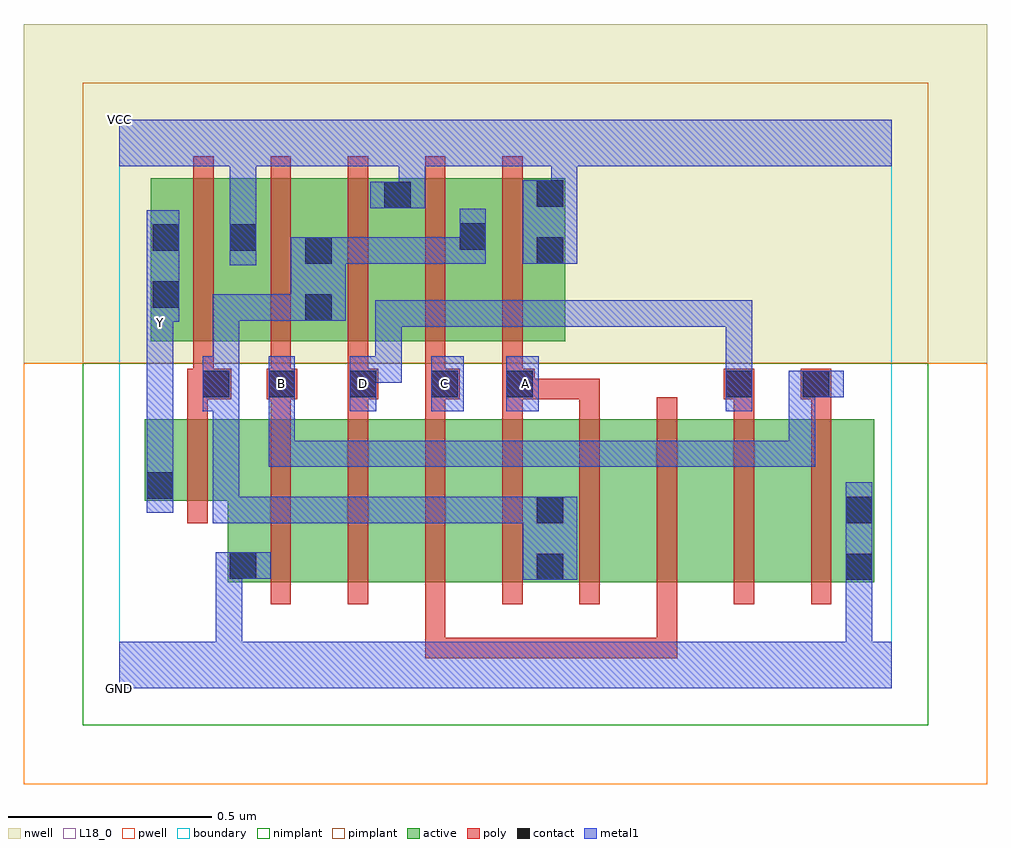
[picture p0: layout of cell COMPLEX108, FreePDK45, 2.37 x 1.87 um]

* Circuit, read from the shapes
.subckt COMPLEX108 A B C D GND VCC Y
M1 GND n1 Y VSUBS nfet w=0.2u l=0.05u
M2 n2 B GND VSUBS nfet w=0.4u l=0.05u
M3 n3 D n2 VSUBS nfet w=0.4u l=0.05u
M4 n4 C n3 VSUBS nfet w=0.4u l=0.05u
M5 n1 A n4 VSUBS nfet w=0.4u l=0.05u
M6 n5 A n1 VSUBS nfet w=0.4u l=0.05u
M7 n6 C n5 VSUBS nfet w=0.4u l=0.05u
M8 n7 D n6 VSUBS nfet w=0.4u l=0.05u
M9 GND B n7 VSUBS nfet w=0.4u l=0.05u
M10 VCC n1 Y n8 pfet w=0.4u l=0.05u
M11 n1 B VCC n8 pfet w=0.4u l=0.05u
M12 VCC D n1 n8 pfet w=0.4u l=0.05u
M13 n1 C VCC n8 pfet w=0.4u l=0.05u
M14 VCC A n1 n8 pfet w=0.4u l=0.05u
.ends

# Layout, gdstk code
import gdstk
lib = gdstk.Library(unit=1e-6, precision=1e-09)
def R(c, l, rs):  # rectangles x0, y0, x1, y1
    for r in rs: c.add(gdstk.rectangle(r[:2], r[2:], *l))
def A(c, l, x, y, w, h, nx, ny, dx, dy):  # array of equal rectangles
    R(c, l, [(x+i*dx, y+j*dy, x+i*dx+w, y+j*dy+h) for i in range(nx) for j in range(ny)])
active = (1, 0)
pwell = (2, 0)
nwell = (3, 0)
nimplant = (4, 0)
pimplant = (5, 0)
poly = (9, 0)
contact = (10, 0)
metal1 = (11, 0)
L18_0 = (18, 0)
boundary = (235, 0)

complex108 = lib.new_cell('COMPLEX108')
R(complex108, active, [(0.267,0.262,0.492,0.662), (0.267,0.262,0.342,0.532), (0.492,0.262,0.682,0.662), (0.682,0.262,0.872,0.662), (0.872,0.262,1.097,0.662), (1.022,0.262,1.252,0.662), (1.022,0.262,1.097,0.617), (1.252,0.262,1.442,0.662), (1.442,0.262,1.632,0.662), (1.632,0.262,1.857,0.662), (1.782,0.262,1.857,0.662), (0.062,0.462,0.342,0.662), (0.062,0.462,0.137,0.662), (0.077,0.855,0.342,1.255), (0.077,0.855,0.152,1.2), (0.267,0.855,0.527,1.255), (0.452,0.855,0.722,1.255), (0.452,0.855,0.527,1.2), (0.647,0.855,0.907,1.255), (0.832,0.855,1.097,1.255), (1.022,0.855,1.097,1.255), (0.267,0.907,0.342,1.255), (0.647,0.907,0.722,1.255), (0.832,0.907,0.907,1.2)])
R(complex108, pwell, [(-0.235,-0.235,2.135,0.8)])
R(complex108, nwell, [(-0.235,0.8,2.135,1.635)])
R(complex108, nimplant, [(-0.09,-0.09,1.99,0.8)])
R(complex108, pimplant, [(-0.09,0.8,1.99,1.49)])
A(complex108, poly, 0.372, 0.207, 0.05, 0.51, 8, 1, 0.19, 0)
A(complex108, poly, 0.372, 0.667, 0.05, 0.095, 5, 1, 0.19, 0)
A(complex108, poly, 0.182, 0.737, 0.05, 0.113, 5, 1, 0.19, 0)
A(complex108, poly, 0.182, 0.8, 0.05, 0.51, 5, 1, 0.19, 0)
R(complex108, poly, [(0.752,0.075,0.802,0.257), (0.752,0.075,0.802,0.125), (0.752,0.075,0.802,0.125), (0.752,0.075,0.802,0.125), (0.752,0.075,0.97,0.125), (0.92,0.075,0.97,0.125), (0.92,0.075,0.97,0.125), (0.92,0.075,0.97,0.125), (0.92,0.075,1.155,0.125), (1.105,0.075,1.155,0.125), (1.105,0.075,1.372,0.125), (1.322,0.075,1.372,0.257), (1.322,0.075,1.372,0.125), (1.322,0.075,1.372,0.125), (1.322,0.075,1.372,0.125), (0.167,0.407,0.217,0.717), (0.167,0.667,0.217,0.762), (1.512,0.667,1.562,0.762), (1.702,0.667,1.752,0.762), (0.167,0.712,0.275,0.787), (0.362,0.712,0.437,0.787), (0.562,0.712,0.637,0.787), (0.752,0.712,0.837,0.787), (0.942,0.712,1.022,0.787), (0.972,0.712,1.182,0.762), (1.132,0.712,1.182,0.762), (1.132,0.712,1.182,0.762), (1.132,0.712,1.182,0.762), (1.487,0.712,1.562,0.787), (1.677,0.712,1.752,0.787)])
A(complex108, contact, 0.367, 0.717, 0.065, 0.065, 3, 1, 0.2, 0)
R(complex108, contact, [(1.027,0.267,1.092,0.332), (1.787,0.267,1.852,0.332), (0.272,0.27,0.337,0.335), (1.027,0.407,1.092,0.472), (1.787,0.407,1.852,0.472), (0.067,0.467,0.132,0.532), (0.205,0.717,0.27,0.782), (0.952,0.717,1.017,0.782), (1.492,0.717,1.557,0.782), (1.682,0.717,1.747,0.782), (0.457,0.905,0.522,0.97), (0.082,0.937,0.147,1.002), (0.457,1.045,0.522,1.11), (1.027,1.045,1.092,1.11), (0.082,1.077,0.147,1.142), (0.272,1.077,0.337,1.142), (0.837,1.08,0.902,1.145), (0.652,1.182,0.717,1.247), (1.027,1.185,1.092,1.25)])
R(complex108, metal1, [(0,0,1.9,0.115), (0.237,0.05,0.302,0.115), (0.237,0.05,0.302,0.115), (0.237,0.05,0.302,0.335), (1.787,0.05,1.852,0.297), (1.787,0.232,1.852,0.297), (1.787,0.232,1.852,0.297), (1.787,0.232,1.852,0.297), (1.787,0.232,1.852,0.297), (1.787,0.232,1.852,0.507), (0.992,0.267,1.127,0.472), (0.237,0.27,0.302,0.335), (0.237,0.27,0.302,0.335), (0.237,0.27,0.372,0.335), (0.23,0.407,0.295,0.472), (0.23,0.407,0.295,0.472), (0.23,0.407,0.295,0.472), (0.23,0.407,0.495,0.472), (0.23,0.407,0.295,0.747), (0.43,0.407,0.495,0.472), (0.43,0.407,0.495,0.472), (0.43,0.407,0.495,0.472), (0.43,0.407,0.695,0.472), (0.63,0.407,0.695,0.472), (0.63,0.407,0.695,0.472), (0.63,0.407,0.695,0.472), (0.63,0.407,0.847,0.472), (0.782,0.407,0.847,0.472), (0.782,0.407,0.847,0.472), (0.782,0.407,0.847,0.472), (0.782,0.407,0.985,0.472), (0.92,0.407,0.985,0.472), (0.92,0.407,1.057,0.472), (0.067,0.432,0.132,0.567), (0.067,0.502,0.132,0.897), (0.367,0.545,0.432,0.61), (0.367,0.545,0.695,0.61), (0.367,0.545,0.432,0.747), (0.63,0.545,0.695,0.61), (0.63,0.545,0.695,0.61), (0.63,0.545,0.695,0.61), (0.63,0.545,0.832,0.61), (0.767,0.545,0.832,0.61), (0.767,0.545,0.847,0.61), (0.782,0.545,0.847,0.61), (0.782,0.545,0.985,0.61), (0.92,0.545,0.985,0.61), (0.92,0.545,0.985,0.61), (0.92,0.545,0.985,0.61), (0.92,0.545,1.145,0.61), (1.08,0.545,1.145,0.61), (1.08,0.545,1.145,0.61), (1.08,0.545,1.145,0.61), (1.08,0.545,1.42,0.61), (1.355,0.545,1.42,0.61), (1.355,0.545,1.42,0.61), (1.355,0.545,1.42,0.61), (1.355,0.545,1.557,0.61), (1.492,0.545,1.557,0.61), (1.492,0.545,1.712,0.61), (1.647,0.545,1.712,0.61), (1.647,0.545,1.712,0.782), (0.205,0.682,0.27,0.817), (0.205,0.682,0.295,0.747), (0.23,0.682,0.295,0.747), (0.23,0.682,0.295,0.97), (0.367,0.682,0.432,0.747), (0.367,0.682,0.432,0.747), (0.367,0.682,0.432,0.817), (0.567,0.682,0.632,0.817), (0.767,0.682,0.847,0.817), (0.952,0.682,1.032,0.817), (1.492,0.682,1.557,0.817), (1.647,0.717,1.712,0.782), (1.647,0.717,1.712,0.782), (1.647,0.717,1.782,0.782), (0.567,0.752,0.695,0.817), (0.63,0.752,0.695,0.817), (0.63,0.752,0.695,0.955), (1.492,0.752,1.557,0.817), (1.492,0.752,1.557,0.817), (1.492,0.752,1.557,0.955), (0.067,0.832,0.132,0.967), (0.63,0.89,0.695,0.955), (0.63,0.89,0.847,0.955), (0.782,0.89,0.847,0.955), (0.782,0.89,0.847,0.955), (0.782,0.89,0.847,0.955), (0.782,0.89,0.985,0.955), (0.92,0.89,0.985,0.955), (0.92,0.89,0.985,0.955), (0.92,0.89,0.985,0.955), (0.92,0.89,1.122,0.955), (1.057,0.89,1.122,0.955), (1.057,0.89,1.282,0.955), (1.217,0.89,1.282,0.955), (1.217,0.89,1.282,0.955), (1.217,0.89,1.282,0.955), (1.217,0.89,1.557,0.955), (1.492,0.89,1.557,0.955), (0.067,0.902,0.132,0.967), (0.067,0.902,0.147,1.177), (0.23,0.905,0.295,0.97), (0.23,0.905,0.487,0.97), (0.422,0.905,0.487,0.97), (0.422,0.905,0.487,0.97), (0.422,0.905,0.557,1.11), (0.272,1.042,0.337,1.177), (0.48,1.045,0.545,1.11), (0.48,1.045,0.545,1.11), (0.48,1.045,0.695,1.11), (0.63,1.045,0.695,1.11), (0.63,1.045,0.695,1.11), (0.63,1.045,0.695,1.11), (0.63,1.045,0.832,1.11), (0.767,1.045,0.832,1.11), (0.767,1.045,0.902,1.11), (0.837,1.045,0.902,1.18), (0.992,1.045,1.127,1.25), (0.272,1.112,0.337,1.35), (0.617,1.182,0.752,1.247), (0.687,1.182,0.752,1.35), (1.062,1.185,1.127,1.35), (0,1.285,1.9,1.4)])
A(complex108, L18_0, 0.367, 0.717, 0.065, 0.065, 4, 1, 0.2, 0)
R(complex108, L18_0, [(0,0,1.9,0.115), (0.237,0.05,0.302,0.115), (0.237,0.05,0.302,0.115), (0.237,0.05,0.302,0.335), (1.787,0.05,1.852,0.297), (1.787,0.232,1.852,0.297), (1.787,0.232,1.852,0.297), (1.787,0.232,1.852,0.297), (1.787,0.232,1.852,0.297), (1.787,0.232,1.852,0.507), (0.237,0.27,0.302,0.335), (0.237,0.27,0.302,0.335), (0.237,0.27,0.372,0.335), (0.067,0.432,0.132,0.567), (0.067,0.502,0.132,0.897), (0.367,0.545,0.432,0.61), (0.367,0.545,0.432,0.747), (0.367,0.545,0.695,0.61), (0.63,0.545,0.695,0.61), (0.63,0.545,0.695,0.61), (0.63,0.545,0.695,0.61), (0.63,0.545,0.832,0.61), (0.767,0.545,0.832,0.61), (0.767,0.545,0.847,0.61), (0.782,0.545,0.847,0.61), (0.782,0.545,0.985,0.61), (0.92,0.545,0.985,0.61), (0.92,0.545,0.985,0.61), (0.92,0.545,0.985,0.61), (0.92,0.545,1.145,0.61), (1.08,0.545,1.145,0.61), (1.08,0.545,1.145,0.61), (1.08,0.545,1.145,0.61), (1.08,0.545,1.42,0.61), (1.355,0.545,1.42,0.61), (1.355,0.545,1.42,0.61), (1.355,0.545,1.42,0.61), (1.355,0.545,1.557,0.61), (1.492,0.545,1.557,0.61), (1.492,0.545,1.712,0.61), (1.647,0.545,1.712,0.61), (1.647,0.545,1.712,0.782), (0.367,0.682,0.432,0.817), (0.367,0.682,0.432,0.747), (0.367,0.682,0.432,0.747), (0.567,0.682,0.632,0.817), (0.767,0.682,0.847,0.817), (0.952,0.682,1.032,0.817), (1.492,0.682,1.557,0.817), (1.647,0.717,1.712,0.782), (1.647,0.717,1.712,0.782), (1.647,0.717,1.782,0.782), (0.567,0.752,0.695,0.817), (0.63,0.752,0.695,0.817), (0.63,0.752,0.695,0.955), (1.492,0.752,1.557,0.817), (1.492,0.752,1.557,0.817), (1.492,0.752,1.557,0.955), (0.067,0.832,0.132,0.967), (0.067,0.867,0.132,0.932), (0.63,0.89,0.695,0.955), (0.63,0.89,0.847,0.955), (0.782,0.89,0.847,0.955), (0.782,0.89,0.847,0.955), (0.782,0.89,0.847,0.955), (0.782,0.89,0.985,0.955), (0.92,0.89,0.985,0.955), (0.92,0.89,0.985,0.955), (0.92,0.89,0.985,0.955), (0.92,0.89,1.122,0.955), (1.057,0.89,1.122,0.955), (1.057,0.89,1.282,0.955), (1.217,0.89,1.282,0.955), (1.217,0.89,1.282,0.955), (1.217,0.89,1.282,0.955), (1.217,0.89,1.557,0.955), (1.492,0.89,1.557,0.955), (0.067,0.902,0.147,1.177), (0.067,0.902,0.132,0.967), (0.272,1.042,0.337,1.177), (0.992,1.045,1.127,1.25), (0.272,1.112,0.337,1.35), (0.617,1.182,0.752,1.247), (0.687,1.182,0.752,1.35), (1.062,1.185,1.127,1.35), (0,1.285,1.9,1.4)])
R(complex108, boundary, [(0,0,1.9,1.4)])
complex108.add(gdstk.Label('A', (1,0.75), layer=11, texttype=0))
complex108.add(gdstk.Label('B', (0.4,0.75), layer=11, texttype=0))
complex108.add(gdstk.Label('C', (0.8,0.75), layer=11, texttype=0))
complex108.add(gdstk.Label('D', (0.6,0.75), layer=11, texttype=0))
complex108.add(gdstk.Label('Y', (0.1,0.9), layer=11, texttype=0))
complex108.add(gdstk.Label('VCC', (0,1.4), layer=11, texttype=0))
complex108.add(gdstk.Label('GND', (0,0), layer=11, texttype=0))

lib.write_gds('COMPLEX108.gds')
